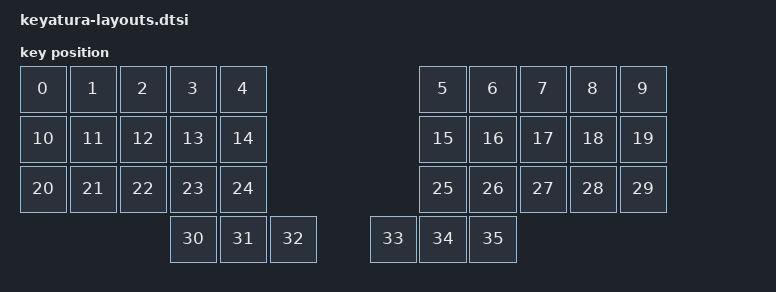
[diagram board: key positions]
#include <physical_layouts.dtsi>


/ {
    physical_layout0: physical_layout0 {
        compatible = "zmk,physical-layout";
        display-name = "Default layout";
        transform = <&default_transform>;
        keys  //                     w   h    x    y     rot    rx    ry
            = <&key_physical_attrs 100 100    0    0       0     0     0>
            , <&key_physical_attrs 100 100  100    0       0     0     0>
            , <&key_physical_attrs 100 100  200    0       0     0     0>
            , <&key_physical_attrs 100 100  300    0       0     0     0>
            , <&key_physical_attrs 100 100  400    0       0     0     0>
            , <&key_physical_attrs 100 100  800    0       0     0     0>
            , <&key_physical_attrs 100 100  900    0       0     0     0>
            , <&key_physical_attrs 100 100 1000    0       0     0     0>
            , <&key_physical_attrs 100 100 1100    0       0     0     0>
            , <&key_physical_attrs 100 100 1200    0       0     0     0>
            , <&key_physical_attrs 100 100    0  100       0     0     0>
            , <&key_physical_attrs 100 100  100  100       0     0     0>
            , <&key_physical_attrs 100 100  200  100       0     0     0>
            , <&key_physical_attrs 100 100  300  100       0     0     0>
            , <&key_physical_attrs 100 100  400  100       0     0     0>
            , <&key_physical_attrs 100 100  800  100       0     0     0>
            , <&key_physical_attrs 100 100  900  100       0     0     0>
            , <&key_physical_attrs 100 100 1000  100       0     0     0>
            , <&key_physical_attrs 100 100 1100  100       0     0     0>
            , <&key_physical_attrs 100 100 1200  100       0     0     0>
            , <&key_physical_attrs 100 100    0  200       0     0     0>
            , <&key_physical_attrs 100 100  100  200       0     0     0>
            , <&key_physical_attrs 100 100  200  200       0     0     0>
            , <&key_physical_attrs 100 100  300  200       0     0     0>
            , <&key_physical_attrs 100 100  400  200       0     0     0>
            , <&key_physical_attrs 100 100  800  200       0     0     0>
            , <&key_physical_attrs 100 100  900  200       0     0     0>
            , <&key_physical_attrs 100 100 1000  200       0     0     0>
            , <&key_physical_attrs 100 100 1100  200       0     0     0>
            , <&key_physical_attrs 100 100 1200  200       0     0     0>
            , <&key_physical_attrs 100 100  300  300       0     0     0>
            , <&key_physical_attrs 100 100  400  300       0     0     0>
            , <&key_physical_attrs 100 100  500  300       0     0     0>
            , <&key_physical_attrs 100 100  700  300       0     0     0>
            , <&key_physical_attrs 100 100  800  300       0     0     0>
            , <&key_physical_attrs 100 100  900  300       0     0     0>
            ;
    };
};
